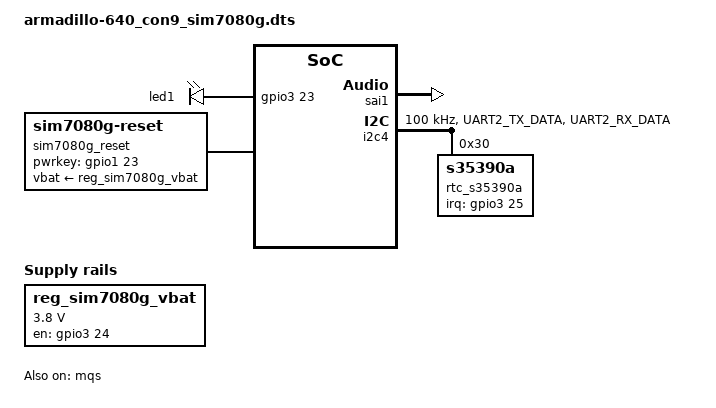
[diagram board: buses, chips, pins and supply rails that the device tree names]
/*
 * Copyright (C) 2020 Advaly System, Inc. All Rights Reserved.
 *
 * SPDX-License-Identifier: (GPL-2.0 OR MIT)
 */

/dts-v1/;
#define ARMADILLO640_SIM7080G

#include "armadillo-640.dts"
/ {
	aliases {
		rtc0 = &rtc_s35390a;
	};

	gpio-leds {
		compatible = "gpio-leds";
		pinctrl-names = "default";
		pinctrl-0 = <&pinctrl_gpio_leds>;

		/* LED1(User LED) */
		led1 {
			label = "led1";
			gpios = <&gpio3 23 GPIO_ACTIVE_HIGH>;
			linux,default-trigger = "default-on";
		};
	};

	regulators: regulators0 {
		compatible = "simple-bus";
		#address-cells = <1>;
		#size-cells = <0>;

		/* 3.8V power for the LTE module */
		reg_sim7080g_vbat: regulator@0 {
			compatible = "regulator-fixed";
			regulator-name = "SIM7080G_VBAT";
			regulator-min-microvolt = <3800000>;
			regulator-max-microvolt = <3800000>;
			gpio = <&gpio3 24 GPIO_ACTIVE_HIGH>;
			enable-active-high;
			regulator-boot-on;
		};
	};

	sim7080g_reset: sim7080g-reset {
		compatible = "sim7080g-reset";
		pinctrl-names = "default";
		pinctrl-0 = <&pinctrl_sim7080g_reset>;
		gpio-pwrkey = <&gpio1 23 GPIO_ACTIVE_HIGH>;
		vbat-supply = <&reg_sim7080g_vbat>;
	};

	sound-mqs {
		compatible = "fsl,imx6ul-ddr3-arm2-mqs",
				"fsl,imx-audio-mqs";
		model = "mqs-audio";
		cpu-dai = <&sai1>;
		asrc-controller = <&asrc>;
		audio-codec = <&mqs>;
	};
};

&iomuxc {
	pinctrl-names = "default";

	pinctrl_gpio_leds: gpioledsgrp {
		fsl,pins = <
			MX6UL_PAD_LCD_DATA18__GPIO3_IO23	0x00008
		>;
	};

	pinctrl_sim7080g_reset: sim7080g_resetgrp {
		fsl,pins = <
			MX6UL_PAD_UART2_RTS_B__GPIO1_IO23	0x00008
			MX6UL_PAD_LCD_DATA19__GPIO3_IO24	0x00008
		>;
	};

	pinctrl_i2c4: i2c4grp {
		fsl,pins = <
			MX6UL_PAD_UART2_TX_DATA__I2C4_SCL	0x40010808
			MX6UL_PAD_UART2_RX_DATA__I2C4_SDA	0x40010808
		>;
	};

	pinctrl_rtc_s35390a: rtcs35390agrp {
		fsl,pins = <
			MX6UL_PAD_LCD_DATA20__GPIO3_IO25	0x08000
		>;
	};

	pinctrl_mqs: mqsgrp {
		fsl,pins = <
			MX6UL_PAD_LCD_DATA22__MQS_RIGHT		0x11088
			MX6UL_PAD_LCD_DATA23__MQS_LEFT		0x11088
		>;
	};
};

&sai1 {
	assigned-clocks = <&clks IMX6UL_CLK_SAI1_SEL>,
			<&clks IMX6UL_CLK_PLL4_AUDIO_DIV>,
			<&clks IMX6UL_CLK_SAI1>;
	assigned-clock-parents = <&clks IMX6UL_CLK_PLL4_AUDIO_DIV>;
	assigned-clock-rates = <0>, <786432000>, <24576000>;
	status = "okay";
};

&mqs {
	pinctrl-names = "default";
	pinctrl-0 = <&pinctrl_mqs>;
	clocks = <&clks IMX6UL_CLK_SAI1>;
	clock-names = "mclk";
	status = "okay";
};

&i2c4 {
	pinctrl-names = "default";
	pinctrl-0 = <&pinctrl_i2c4>;
	clock-frequency = <100000>;
	status = "okay";

	rtc_s35390a: rtc-s35390a {
		pinctrl-names = "default";
		pinctrl-0 = <&pinctrl_rtc_s35390a>;

		compatible = "s35390a";
		reg = <0x30>;

		interrupt-parent = <&gpio3>;
		interrupts = <25 IRQ_TYPE_EDGE_FALLING>;
	};
};
